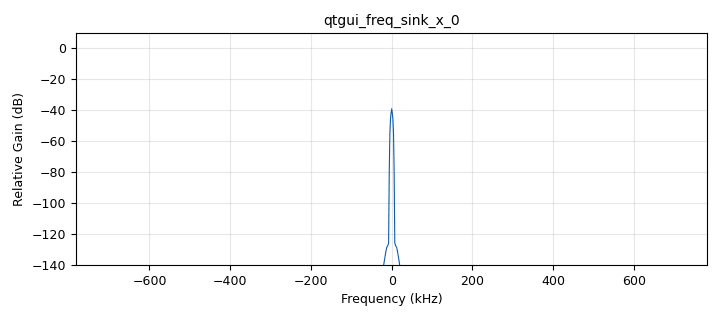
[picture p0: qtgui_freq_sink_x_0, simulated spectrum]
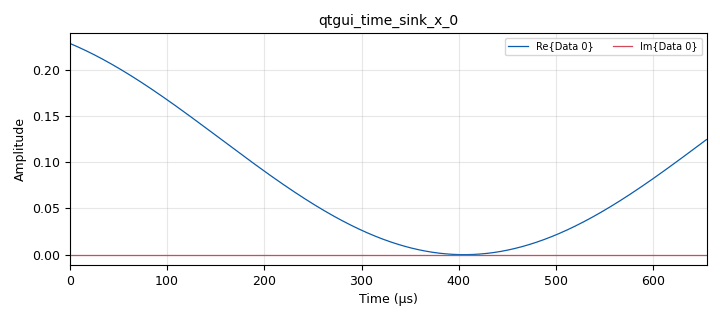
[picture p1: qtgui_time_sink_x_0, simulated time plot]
options:
  parameters:
    generate_options: qt_gui
    id: modulador_de_amplitud
    output_language: python
    title: Modulador de amplitud
  states: {}

blocks:
- name: Ac
  id: variable_qtgui_range
  parameters:
    label: Amplitud Portadora
    start: '0'
    step: '1e-3'
    stop: '1'
    value: '125e-3'
  states: {}
- name: Am
  id: variable_qtgui_range
  parameters:
    label: Amplitud del mensaje
    start: '0'
    step: '100e-3'
    stop: '4'
    value: '1'
  states: {}
- name: B
  id: variable_qtgui_range
  parameters:
    label: Cambio de banda
    start: '-1'
    step: '2'
    stop: '1'
    value: '1'
  states: {}
- name: GTX
  id: variable_qtgui_range
  parameters:
    label: Ganancia del transmisor
    start: '0'
    step: '1'
    stop: '30'
    value: '0'
  states: {}
- name: Ka
  id: variable_qtgui_range
  parameters:
    label: coeficiente ka
    start: '0'
    step: '0.1'
    stop: '2'
    value: '1'
  states: {}
- name: fc
  id: variable_qtgui_range
  parameters:
    label: Frecuencia portadora
    start: 50e6
    step: 1e6
    stop: 2.2e9
    value: 50e6
  states: {}
- name: fm
  id: variable_qtgui_range
  parameters:
    label: Frecuencia del mensaje
    start: '300'
    step: '100'
    stop: samp_rate/4
    value: '1000'
  states: {}
- name: samp_rate
  id: variable
  parameters:
    value: 12500000/8
  states: {}
- name: ModuladorAM_0
  id: ModuladorAM
  parameters:
    Ac: '1'
    ka: '1'
  states: {state: disabled}
- name: analog_sig_source_x_0
  id: analog_sig_source_x
  parameters:
    amp: Am
    freq: fm
    offset: '0'
    phase: '0'
    samp_rate: samp_rate
    type: float
    waveform: analog.GR_SIN_WAVE
  states: {}
- name: blocks_add_const_vxx_0
  id: blocks_add_const_vxx
  parameters:
    const: '1'
    type: float
  states: {}
- name: blocks_float_to_complex_0
  id: blocks_float_to_complex
  parameters: {}
  states: {}
- name: blocks_multiply_const_vxx_0
  id: blocks_multiply_const_vxx
  parameters:
    const: Ka
    type: float
  states: {}
- name: blocks_multiply_const_vxx_1
  id: blocks_multiply_const_vxx
  parameters:
    const: Ac
    type: complex
  states: {}
- name: blocks_null_source_0
  id: blocks_null_source
  parameters:
    type: float
  states: {}
- name: qtgui_freq_sink_x_0
  id: qtgui_freq_sink_x
  parameters:
    bw: samp_rate
    fc: '0'
    fftsize: '1024'
    type: complex
  states: {}
- name: qtgui_time_sink_x_0
  id: qtgui_time_sink_x
  parameters:
    autoscale: 'True'
    size: '1024'
    srate: samp_rate
    type: complex
  states: {}
- name: uhd_usrp_sink_0
  id: uhd_usrp_sink
  parameters:
    ant0: '"TX/RX"'
    center_freq0: fc
    gain0: GTX
    samp_rate: samp_rate
    sync: pc_clock
    type: fc32
  states: {}
- name: untitled_0
  id: untitled
  parameters:
    Ac: Ac
    ka: K
  states: {state: disabled}
- name: untitled_1
  id: untitled
  parameters:
    Ac: '1'
    ka: '1'
  states: {state: disabled}

connections:
- [ModuladorAM_0, '0', qtgui_freq_sink_x_0, '0']
- [ModuladorAM_0, '0', qtgui_time_sink_x_0, '0']
- [analog_sig_source_x_0, '0', ModuladorAM_0, '0']
- [analog_sig_source_x_0, '0', blocks_multiply_const_vxx_0, '0']
- [analog_sig_source_x_0, '0', untitled_0, '0']
- [analog_sig_source_x_0, '0', untitled_1, '0']
- [blocks_add_const_vxx_0, '0', blocks_float_to_complex_0, '0']
- [blocks_float_to_complex_0, '0', blocks_multiply_const_vxx_1, '0']
- [blocks_multiply_const_vxx_0, '0', blocks_add_const_vxx_0, '0']
- [blocks_multiply_const_vxx_1, '0', qtgui_freq_sink_x_0, '0']
- [blocks_multiply_const_vxx_1, '0', qtgui_time_sink_x_0, '0']
- [blocks_multiply_const_vxx_1, '0', uhd_usrp_sink_0, '0']
- [blocks_null_source_0, '0', blocks_float_to_complex_0, '1']
- [untitled_0, '0', qtgui_time_sink_x_0, '0']
- [untitled_0, '0', uhd_usrp_sink_0, '0']
- [untitled_1, '0', qtgui_freq_sink_x_0, '0']

metadata:
  file_format: 1
  grc_version: v3.11.0.0git-810-g1ecb8565
